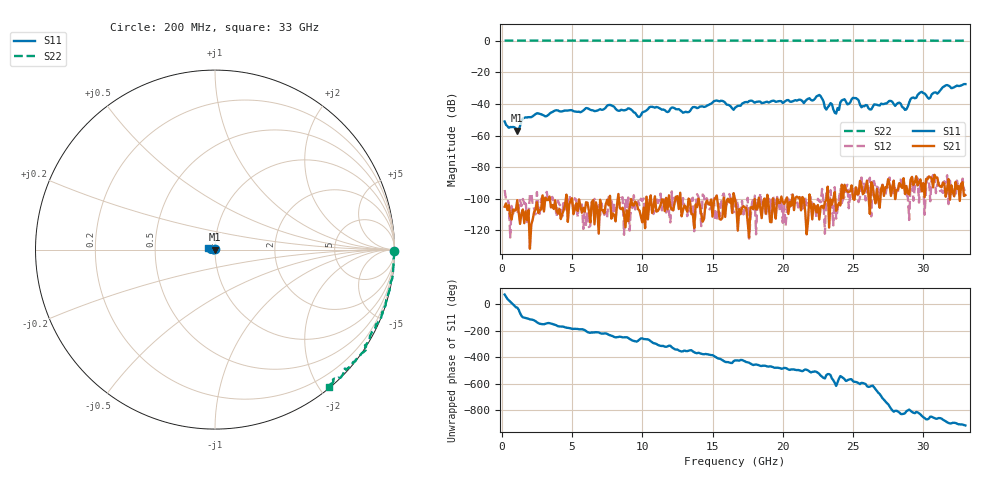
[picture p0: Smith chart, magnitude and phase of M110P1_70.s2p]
# GHZ S RI R 50
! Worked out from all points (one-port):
!   329 points, 200 MHz to 33 GHz, reference 50 ohm
!   lowest |S11| = -57.0 dB at 1.1 GHz (marker M1), VSWR 1.00, Z = 50.1 - j0.0637 ohm
!   |S11| at or under -10 dB: start of sweep to end of sweep
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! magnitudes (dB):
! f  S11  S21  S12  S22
! 200 MHz  -51.1  -105.0  -94.4  0.0
! 1.1 GHz  -57.0  -100.9  -108.8  0.0
! 1.5 GHz  -49.3  -106.7  -100.1  0.0
! 2.5 GHz  -45.9  -102.1  -95.7  0.0
! 5.7 GHz  -44.8  -108.8  -103.6  0.0
! 7.7 GHz  -40.6  -98.1  -98.9  0.0
! 9.8 GHz  -48.3  -107.4  -104.0  0.0
! 11.2 GHz  -42.6  -106.3  -101.1  0.0
! 13.3 GHz  -45.2  -99.8  -101.4  0.0
! 15.3 GHz  -37.9  -97.9  -112.5  0.0
! 16.6 GHz  -42.5  -100.2  -105.0  0.0
! 22.1 GHz  -37.9  -113.0  -105.8  0.0
! 22.6 GHz  -34.3  -113.0  -101.6  -0.1
! 23.1 GHz  -43.6  -100.7  -96.6  0.0
! 23.8 GHz  -46.1  -107.5  -112.5  0.1
! 24.4 GHz  -37.1  -91.1  -98.7  0.0
! 26.2 GHz  -43.6  -109.6  -86.6  0.0
! 27.6 GHz  -38.1  -90.6  -86.5  0.0
! 28.7 GHz  -43.8  -96.9  -95.6  -0.2
! 29.8 GHz  -32.7  -87.7  -90.1  -0.1
! 30.4 GHz  -36.7  -85.8  -86.7  0.0
! 33 GHz  -27.5  -97.6  -94.3  0.0
